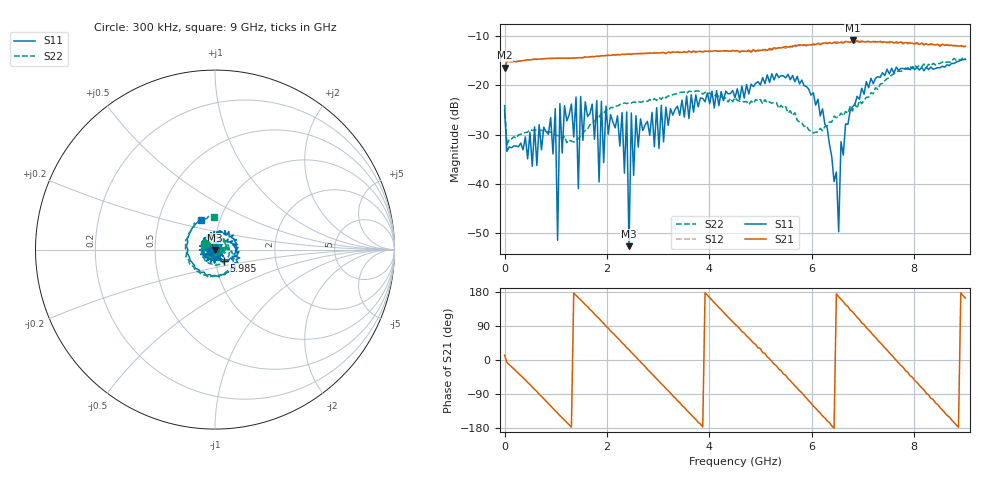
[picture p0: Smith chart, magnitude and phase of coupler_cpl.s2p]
!Agilent Technologies,E8358A,US40210021,A.06.04.30
!Agilent E8358A: A.06.04.30
!Date: Saturday, April 14, 2018 14:29:02
!Correction: S11(Full 2 Port(1,2)) S21(Full 2 Port(1,2)) S12(Full 2 Port(1,2)) S22(Full 2 Port(1,2))
!S2P File: Measurements: S11, S21, S12, S22:
# Hz S  RI  R 50
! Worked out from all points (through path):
!   201 points, 300 kHz to 9 GHz, reference 50 ohm
!   highest |S21| = -10.96 dB at 6.795 GHz (marker M1); lowest = -16.5 dB at 300 kHz (marker M2)
!   group delay of S21, straight-line fit = 395 ps
!   lowest |S11| = -52.6 dB at 2.43 GHz (marker M3), VSWR 1.00, Z = 49.9 - j0.217 ohm
!   |S11| at or under -10 dB: start of sweep to end of sweep
!   |S22| runs from -32.1 to -14.3 dB; largest |S21 - S12| = 0.015
!   S11 on the Smith chart (normalised r, x): 300 kHz: 0.90, +0.05; 5.985 GHz: 1.09, -0.14; 9 GHz: 0.81, +0.28
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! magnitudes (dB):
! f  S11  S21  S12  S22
! 300 kHz  -25.0  -16.5  -16.4  -24.0
! 540.3 MHz  -36.4  -14.8  -14.8  -29.2
! 990.3 MHz  -24.8  -14.6  -14.5  -30.1
! 1.035 GHz  -51.4  -14.6  -14.6  -30.2
! 1.08 GHz  -23.7  -14.5  -14.5  -30.2
! 1.53 GHz  -31.2  -14.4  -14.4  -29.6
! 2.295 GHz  -25.6  -13.8  -13.8  -23.8
! 2.34 GHz  -37.8  -13.8  -13.8  -23.6
! 2.385 GHz  -25.4  -13.8  -13.8  -23.7
! 2.43 GHz  -52.6  -13.7  -13.7  -23.6
! 2.475 GHz  -25.6  -13.8  -13.7  -23.6
! 2.52 GHz  -38.2  -13.6  -13.7  -23.4
! 2.565 GHz  -26.2  -13.7  -13.7  -23.5
! 3.015 GHz  -32.8  -13.5  -13.4  -22.5
! 4.5 GHz  -22.5  -13.1  -13.1  -22.5
! 5.985 GHz  -22.0  -11.9  -11.9  -29.4
! 6.03 GHz  -21.6  -11.8  -11.6  -29.7
! 6.525 GHz  -49.7  -11.4  -11.3  -26.4
! 6.57 GHz  -31.4  -11.4  -11.2  -25.7
! 6.795 GHz  -24.4  -11.0  -11.2  -25.3
! 7.515 GHz  -17.7  -11.4  -11.1  -18.5
! 9 GHz  -14.8  -12.1  -12.3  -14.7
